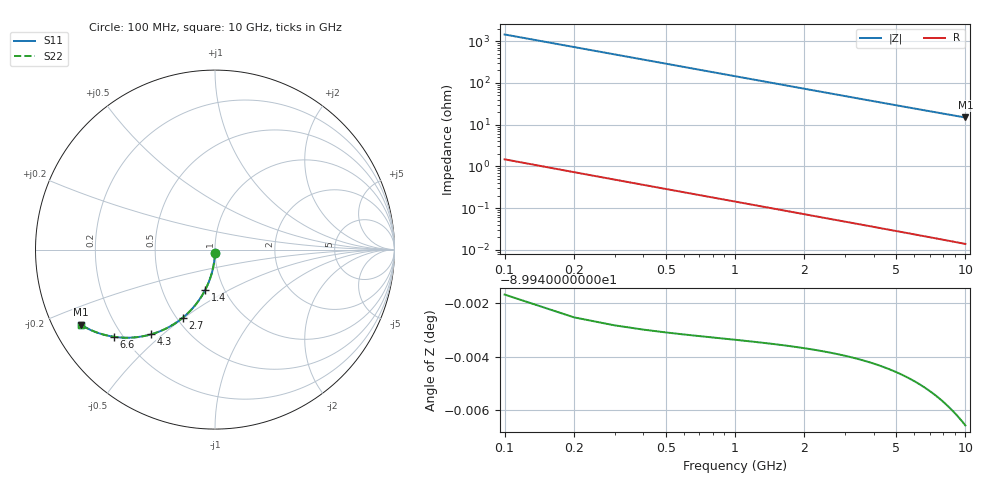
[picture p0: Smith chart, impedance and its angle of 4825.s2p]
# Hz S RI R 50.00
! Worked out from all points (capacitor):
!   100 points, 100 MHz to 10 GHz, reference 50 ohm
!   read as one part in shunt: C = 1.1 pF near 100 MHz
!   lowest |Z| = 14.8 ohm at 10 GHz (marker M1)
!   S11 on the Smith chart (normalised r, x): 100 MHz: 1.00, -0.03; 1.4 GHz: 0.81, -0.39; 2.7 GHz: 0.54, -0.49; 4.3 GHz: 0.32, -0.46; 6.6 GHz: 0.17, -0.36; 10 GHz: 0.08, -0.26
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1e8  -0.000283 -0.0171  0.9997 -0.0174  0.9997 -0.0174  -0.000283 -0.0171
2e8  -0.00119 -0.0342  0.9987 -0.0347  0.9987 -0.0347  -0.00119 -0.0342
3e8  -0.00269 -0.0512  0.9972 -0.052  0.9972 -0.052  -0.00269 -0.0512
4e8  -0.00477 -0.0681  0.9952 -0.0692  0.9952 -0.0692  -0.00477 -0.0681
5e8  -0.00743 -0.0849  0.9925 -0.0863  0.9925 -0.0863  -0.00743 -0.0849
6e8  -0.0107 -0.1015  0.9893 -0.1032  0.9893 -0.1032  -0.0107 -0.1015
7e8  -0.0144 -0.1179  0.9855 -0.12  0.9855 -0.12  -0.0144 -0.1179
9e8  -0.0236 -0.1502  0.9763 -0.1528  0.9763 -0.1528  -0.0236 -0.1502
1.1e9  -0.0349 -0.1814  0.9651 -0.1846  0.9651 -0.1846  -0.0349 -0.1814
1.4e9  -0.0552 -0.226  0.9447 -0.23  0.9447 -0.23  -0.0552 -0.226
1.8e9  -0.088 -0.2803  0.9119 -0.2855  0.9119 -0.2855  -0.088 -0.2803
2.2e9  -0.126 -0.3282  0.874 -0.3345  0.874 -0.3345  -0.126 -0.3282
2.7e9  -0.1782 -0.3783  0.8217 -0.3862  0.8217 -0.3862  -0.1782 -0.3783
3.4e9  -0.2558 -0.4309  0.7441 -0.4408  0.7441 -0.4408  -0.2558 -0.4309
4.3e9  -0.3546 -0.4716  0.6453 -0.4842  0.6453 -0.4842  -0.3546 -0.4716
5.1e9  -0.4359 -0.4879  0.5639 -0.5029  0.5639 -0.5029  -0.4359 -0.4879
5.8e9  -0.4998 -0.4909  0.5 -0.5081  0.5 -0.5081  -0.4998 -0.4909
6.6e9  -0.5641 -0.4856  0.4356 -0.5051  0.4356 -0.5051  -0.5641 -0.4856
6.7e9  -0.5715 -0.4844  0.4282 -0.5043  0.4282 -0.5043  -0.5715 -0.4844
7.5e9  -0.6258 -0.4722  0.3739 -0.4945  0.3739 -0.4945  -0.6258 -0.4722
8.4e9  -0.6773 -0.4544  0.3223 -0.4795  0.3223 -0.4795  -0.6773 -0.4544
1e10  -0.7488 -0.418  0.2507 -0.4481  0.2507 -0.4481  -0.7488 -0.418
